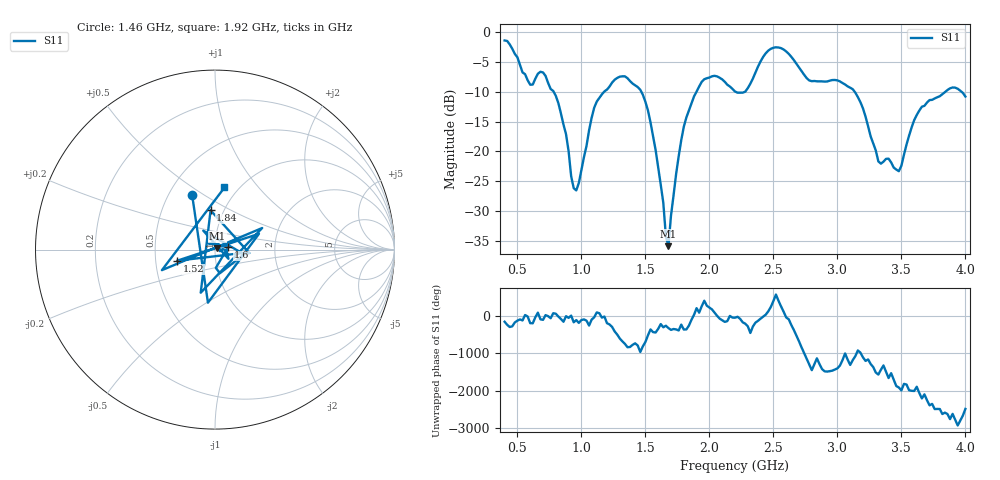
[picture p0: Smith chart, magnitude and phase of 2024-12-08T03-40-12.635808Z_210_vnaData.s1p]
!Created with skrf (http://scikit-rf.org).
# Hz S RI R 50.0
!freq ReS11 ImS11
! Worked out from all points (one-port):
!   181 points, 400 MHz to 4 GHz, reference 50 ohm
!   lowest |S11| = -35.9 dB at 1.68 GHz (marker M1), VSWR 1.03, Z = 51.4 + j0.82 ohm
!   |S11| at or under -10 dB: 783.1 MHz to 1.178 GHz (394.5 MHz wide, 40.2 % of centre); 1.468 GHz to 1.899 GHz (431.3 MHz wide, 25.6 % of centre); 3.135 GHz to 3.844 GHz (709 MHz wide, 20.3 % of centre) (the widest 3 of 5)
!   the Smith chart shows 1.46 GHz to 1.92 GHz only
!   S11 on the Smith chart (normalised r, x): 1.46 GHz: 0.65, +0.44; 1.52 GHz: 0.65, -0.08; 1.6 GHz: 1.16, +0.03; 1.84 GHz: 0.87, +0.40; 1.92 GHz: 0.86, +0.68
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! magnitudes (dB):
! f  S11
! 400 MHz  -1.4
! 600 MHz  -8.8
! 720 MHz  -7.3
! 860 MHz  -15.5
! 920 MHz  -24.2
! 960 MHz  -26.5
! 1.1 GHz  -12.7
! 1.3 GHz  -7.5
! 1.46 GHz  -9.7
! 1.52 GHz  -13.1
! 1.6 GHz  -22.7
! 1.68 GHz  -35.9
! 1.76 GHz  -20.8
! 1.84 GHz  -13.1
! 1.92 GHz  -9.1
! 2.04 GHz  -7.3
! 2.2 GHz  -10.0
! 2.28 GHz  -10.0
! 2.48 GHz  -2.8
! 2.66 GHz  -4.7
! 2.78 GHz  -8.1
! 3.1 GHz  -9.3
! 3.2 GHz  -12.8
! 3.34 GHz  -22.1
! 3.48 GHz  -23.3
! 3.56 GHz  -17.4
! 3.72 GHz  -11.4
! 4 GHz  -10.8
